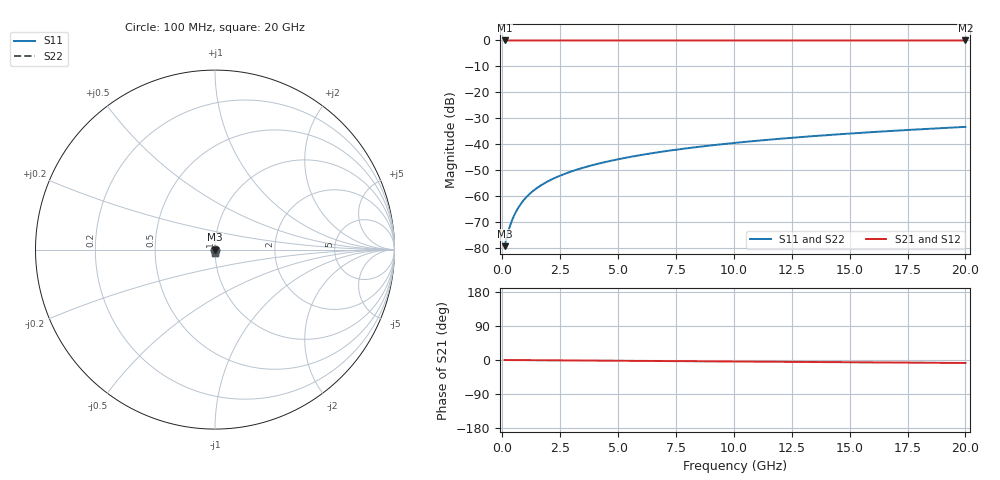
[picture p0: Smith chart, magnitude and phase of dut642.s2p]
! Touchstone file exported from HFSS 2026.1.0
!  File:  C:/ffzhzh/LocalFiles/Ansys_Project_Files/temp_train_TSV_642_1783026477_55676.aedt
!  Generated:  05:09:24 AM Jul  3, 2026
!  Design:  TSV
!  Project:  temp_train_TSV_642_1783026477_55676
! Variables:
!  h_bsmrdl = 2um
!  h_ox = 20um
!  h_rdl = 5um
!  h_sub = 78.45um
!  h_tmrdl = 5um
!  h_tsv = 78.45um
!  h_via = 3um
!  l_bsmrdl = 300um
!  l_sub = 425.94um
!  l_tmrdl = 200um
!  m_sub = 200um
!  pitch = 44.58um
!  r_tsv = 12.97um
!  s_tmrdl = 10um
!  w_bsmrdl = 18um
!  w_sub = 500um
!  w_tmrdl = 12um
!  x_tsv_center1 = 206um
!  x_tsv_center2 = 524um
!  x_tsv_center3 = 736um
!  x_tsv_center4 = 1054um
!  x_tsv_center5 = 1266um
!  x_tsv_center6 = 1584um
# GHz S MA R 50.000000
! Terminal data exported
! Port[1] = TSV1_1_T1
! Port[2] = TSV1_1_T2
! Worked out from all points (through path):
!   200 points, 100 MHz to 20 GHz, reference 50 ohm
!   highest |S21| = 0.00 dB at 100 MHz (marker M1); lowest = 0.0 dB at 20 GHz (marker M2)
!   group delay of S21, straight-line fit = 1.09 ps
!   lowest |S11| = -79.2 dB at 100 MHz (marker M3), VSWR 1.00, Z = 50 - j0.00663 ohm
!   |S11| at or under -10 dB: start of sweep to end of sweep
!   |S22| runs from -79.2 to -33.3 dB; largest |S21 - S12| = 3.4e-15
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0.1  0.00011 -37.1  0.9999 -0.0  0.9999 -0.0  0.00011 -37.1
! Gamma 0 0 0 0
! Port Impedance 50 0 50 0
0.2  0.0001695 -53.4  0.9999 -0.1  0.9999 -0.1  0.0001695 -53.4
0.3  0.0002437 -60.4  0.9999 -0.1  0.9999 -0.1  0.0002437 -60.4
0.4  0.0003275 -64.1  0.9999 -0.2  0.9999 -0.2  0.0003275 -64.1
0.5  0.0004182 -66.6  0.9998 -0.2  0.9998 -0.2  0.0004182 -66.6
0.6  0.0005141 -68.4  0.9998 -0.2  0.9998 -0.2  0.0005141 -68.4
0.8  0.0007155 -71.4  0.9998 -0.3  0.9998 -0.3  0.0007155 -71.4
1.1  0.001028 -74.8  0.9997 -0.4  0.9997 -0.4  0.001028 -74.8
1.3  0.001239 -76.5  0.9997 -0.5  0.9997 -0.5  0.001239 -76.5
1.5  0.00145 -77.8  0.9997 -0.6  0.9997 -0.6  0.00145 -77.8
1.8  0.001766 -79.5  0.9997 -0.7  0.9997 -0.7  0.001766 -79.5
2.1  0.002082 -80.7  0.9996 -0.8  0.9996 -0.8  0.002082 -80.7
2.7  0.002715 -82.5  0.9996 -1.1  0.9996 -1.1  0.002716 -82.5
3.5  0.003564 -84.1  0.9995 -1.4  0.9995 -1.4  0.003564 -84.1
4.2  0.004312 -85.0  0.9995 -1.7  0.9995 -1.7  0.004312 -85.0
5  0.005173 -85.9  0.9994 -2.0  0.9994 -2.0  0.005173 -85.9
6.8  0.00713 -87.5  0.9993 -2.7  0.9993 -2.7  0.00713 -87.5
8.3  0.008772 -88.6  0.9993 -3.3  0.9993 -3.3  0.008772 -88.6
10.1  0.01075 -89.8  0.9992 -4.0  0.9992 -4.0  0.01075 -89.8
13.4  0.01439 -91.7  0.999 -5.3  0.999 -5.3  0.01439 -91.7
16.7  0.01804 -93.4  0.9988 -6.6  0.9988 -6.6  0.01804 -93.4
20  0.02171 -95.0  0.9987 -7.9  0.9987 -7.9  0.02171 -95.0
